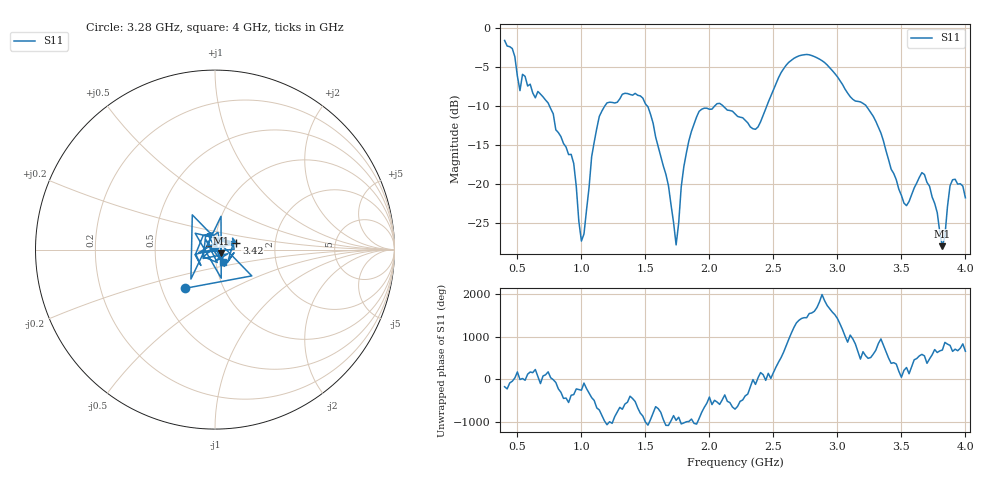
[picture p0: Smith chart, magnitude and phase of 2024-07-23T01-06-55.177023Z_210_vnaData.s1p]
!Created with skrf (http://scikit-rf.org).
# Hz S RI R 50.0
!freq ReS11 ImS11
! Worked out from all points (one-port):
!   181 points, 400 MHz to 4 GHz, reference 50 ohm
!   lowest |S11| = -27.9 dB at 3.82 GHz (marker M1), VSWR 1.08, Z = 53.6 - j2.15 ohm
!   |S11| at or under -10 dB: 750 MHz to 1.184 GHz (433.7 MHz wide, 44.9 % of centre); 1.513 GHz to 2.043 GHz (529.3 MHz wide, 29.8 % of centre); 3.224 GHz to end of sweep (the widest 3 of 4)
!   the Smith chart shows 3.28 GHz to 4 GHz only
!   S11 on the Smith chart (normalised r, x): 3.28 GHz: 0.66, -0.31; 3.42 GHz: 1.26, +0.10; 4 GHz: 1.08, -0.15
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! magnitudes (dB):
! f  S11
! 400 MHz  -1.7
! 480 MHz  -3.7
! 520 MHz  -8.1
! 540 MHz  -6.0
! 740 MHz  -9.6
! 860 MHz  -14.8
! 940 MHz  -17.4
! 1 GHz  -27.3
! 1.14 GHz  -11.3
! 1.3 GHz  -9.1
! 1.52 GHz  -10.1
! 1.68 GHz  -20.2
! 1.74 GHz  -27.8
! 1.76 GHz  -25.0
! 1.8 GHz  -17.8
! 1.92 GHz  -10.7
! 2.2 GHz  -11.0
! 2.38 GHz  -12.7
! 2.66 GHz  -3.9
! 2.88 GHz  -4.2
! 3.1 GHz  -8.8
! 3.28 GHz  -11.3
! 3.42 GHz  -18.1
! 3.56 GHz  -22.2
! 3.68 GHz  -18.8
! 3.82 GHz  -27.9
! 3.9 GHz  -19.5
! 4 GHz  -21.7
